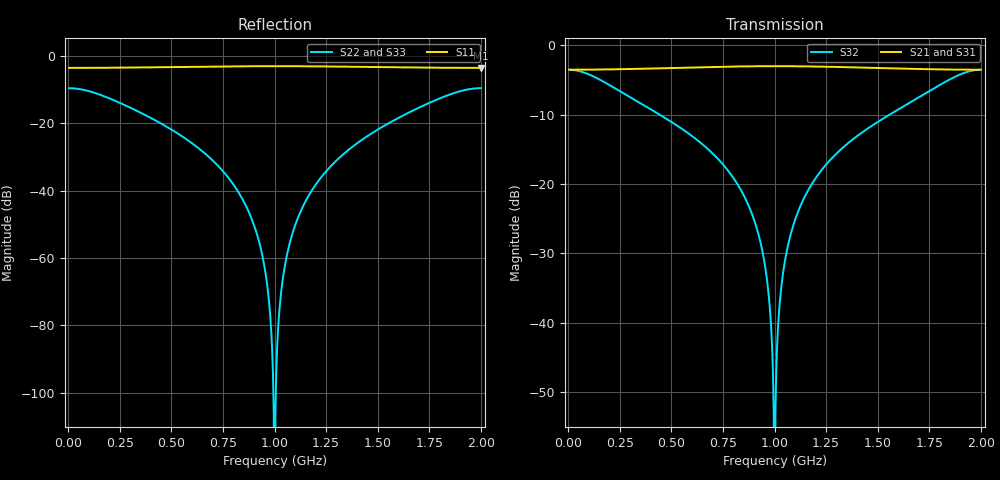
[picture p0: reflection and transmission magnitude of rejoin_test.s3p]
!Created with skrf (http://scikit-rf.org).
# GHz S RI R 50.0
!freq ReS11 ImS11 ReS12 ImS12 ReS13 ImS13
! ReS21 ImS21 ReS22 ImS22 ReS23 ImS23
! ReS31 ImS31 ReS32 ImS32 ReS33 ImS33
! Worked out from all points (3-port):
!   500 points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, 4 MHz to 2 GHz, reference 50 ohm
!   strongest paths, dB at 4 MHz, 504 MHz, 1.004 GHz, 1.504 GHz, 2 GHz:
!     S21: -3.5, -3.3, -3.0, -3.3, -3.5
!     S31: -3.5, -3.3, -3.0, -3.3, -3.5
!     S32: -3.5, -11.1, -53.1, -11.0, -3.5
!   lowest |S11| = -3.5 dB at 2 GHz (marker M1), VSWR 5.00, Z = 10 + j7.28e-15 ohm
!   |S11| at or under -10 dB: nowhere
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0.004  0.6667 -0.00395  0.6667 -0.00395  0.6667 -0.00395
       0.6667 -0.00395  -0.3332 0.0079  0.6665 -0.00987
       0.6667 -0.00395  0.6665 -0.00987  -0.3332 0.0079
0.752  0.2798 -0.6425  0.2798 -0.6425  0.2798 -0.6425
       0.2798 -0.6425  0.0162 0.0101  0.0369 -0.1321
       0.2798 -0.6425  0.0369 -0.1321  0.0162 0.0101
0.94  0.0705 -0.7032  0.0705 -0.7032  0.0705 -0.7032
      0.0705 -0.7032  0.0011 0.000148  0.00222 -0.0332
      0.0705 -0.7032  0.00222 -0.0332  0.0011 0.000148
0.976  0.0283 -0.7065  0.0283 -0.7065  0.0283 -0.7065
       0.0283 -0.7065  0.000177 9.47e-06  0.000355 -0.0133
       0.0283 -0.7065  0.000355 -0.0133  0.000177 9.47e-06
1.004  -0.00471 -0.7071  -0.00471 -0.7071  -0.00471 -0.7071
       -0.00471 -0.7071  4.93e-06 -4.38e-08  9.87e-06 0.00222
       -0.00471 -0.7071  9.87e-06 0.00222  4.93e-06 -4.38e-08
1.02  -0.0236 -0.7067  -0.0236 -0.7067  -0.0236 -0.7067
      -0.0236 -0.7067  0.000123 -5.48e-06  0.000247 0.0111
      -0.0236 -0.7067  0.000247 0.0111  0.000123 -5.48e-06
1.056  -0.0658 -0.7037  -0.0658 -0.7037  -0.0658 -0.7037
       -0.0658 -0.7037  0.00096 -0.00012  0.00193 0.031
       -0.0658 -0.7037  0.00193 0.031  0.00096 -0.00012
1.248  -0.2798 -0.6425  -0.2798 -0.6425  -0.2798 -0.6425
       -0.2798 -0.6425  0.0162 -0.0101  0.0369 0.1321
       -0.2798 -0.6425  0.0369 0.1321  0.0162 -0.0101
1.78  -0.6354 -0.2157  -0.6354 -0.2157  -0.6354 -0.2157
      -0.6354 -0.2157  -0.096 -0.1992  0.3949 0.3007
      -0.6354 -0.2157  0.3949 0.3007  -0.096 -0.1992
2  -0.6667 2.02e-16  -0.6667 2.02e-16  -0.6667 2.02e-16
   -0.6667 2.02e-16  -0.3333 4.04e-16  0.6667 -5.05e-16
   -0.6667 2.02e-16  0.6667 -5.05e-16  -0.3333 4.04e-16
